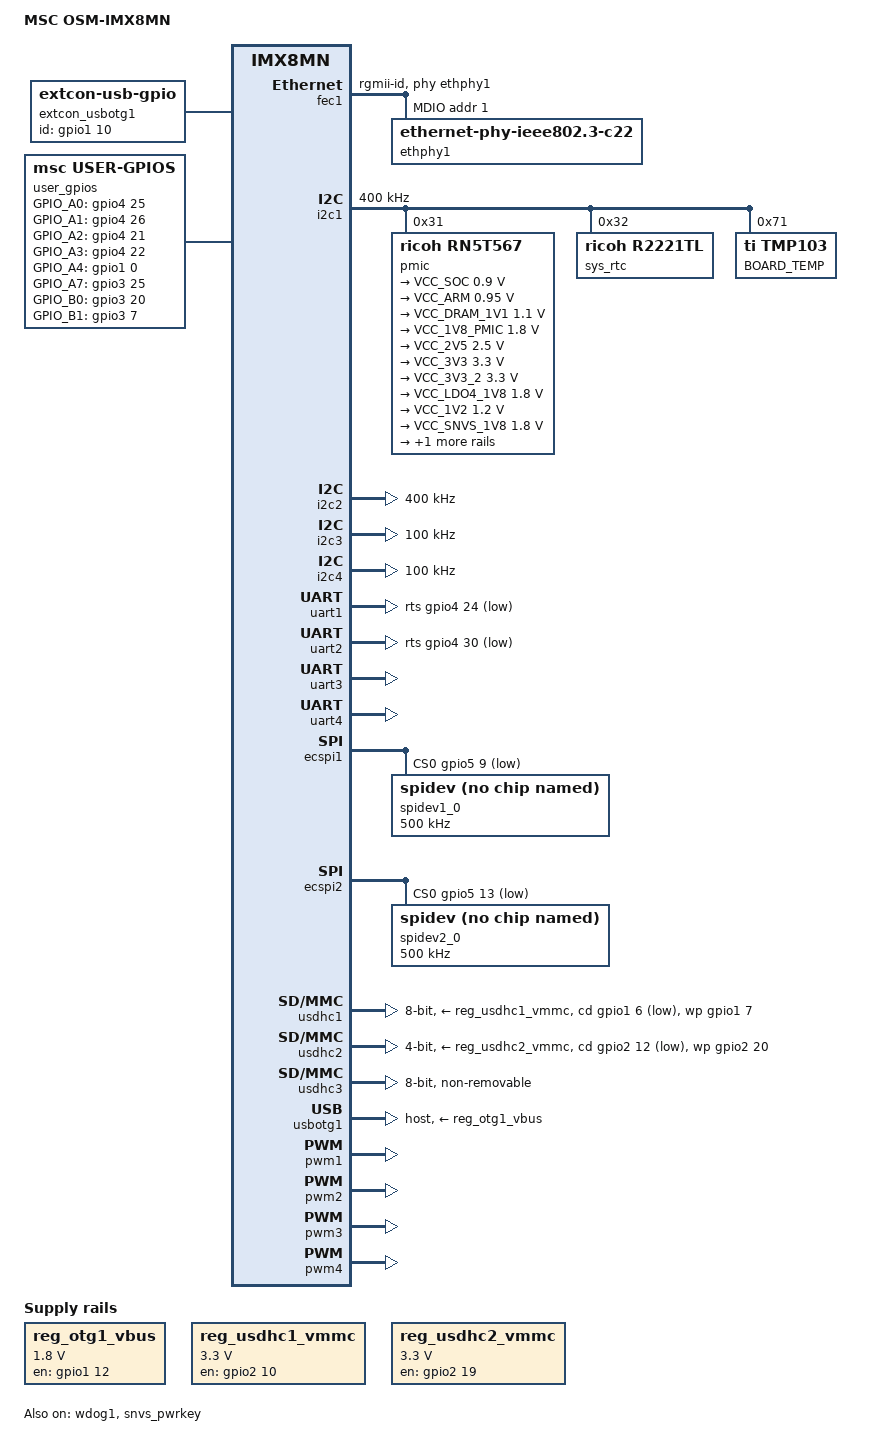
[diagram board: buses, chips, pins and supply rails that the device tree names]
/*
 * Copyright (C) 2023 Avnet Embedded GmbH
 *
 * This program is free software; you can redistribute it and/or
 * modify it under the terms of the GNU General Public License as
 * published by the Free Software Foundation version 2.
 *
 * This program is distributed "as is" WITHOUT ANY WARRANTY of any
 * kind, whether express or implied; without even the implied warranty
 * of MERCHANTABILITY or FITNESS FOR A PARTICULAR PURPOSE.  See the
 * GNU General Public License for more details.
 */

#include <dt-bindings/usb/pd.h>
#include "../../freescale/imx8mn.dtsi"
#include <dt-bindings/net/ti-dp83867.h>
#include <dt-bindings/mfd/ricoh-rn5t618.h>
#include <dt-bindings/input/snvs_pwrkey.h>
#include <dt-bindings/thermal/thermal.h>

/ {
	model = "MSC OSM-IMX8MN";
	compatible = "msc,osm-imx8mn", "fsl,imx8mn";

	chosen {
		stdout-path = &uart1;
	};

	aliases {
		rtc0 = &sys_rtc;
		rtc1 = &snvs_rtc;
		ser0 = &uart1;
		ser1 = &uart3;
		ser2 = &uart2;
		ser3 = &uart4;
		i2c-dev = &i2c1;
		i2c-pm = &i2c2;
		i2c-gp = &i2c3;
		i2c-cam = &i2c4;
	};

	busfreq {
		status = "disabled";
	};

	reg_otg1_vbus: otg1-vbus-regulator {
		compatible = "regulator-fixed";
		regulator-name = "OTG1_VBUS";
		regulator-min-microvolt = <1800000>;
		regulator-max-microvolt = <1800000>;
		gpio = <&gpio1 12 GPIO_ACTIVE_HIGH>;
		enable-active-high;
	};

	reg_usdhc1_vmmc: regulator-usdhc1 {
		compatible = "regulator-fixed";
		regulator-name = "VSD1_3V3";
		regulator-min-microvolt = <3300000>;
		regulator-max-microvolt = <3300000>;
		gpio = <&gpio2 10 GPIO_ACTIVE_HIGH>;
		enable-active-high;
		startup-delay-us = <100>;
		u-boot,off-on-delay-us = <12000>;
	};

	reg_usdhc2_vmmc: regulator-usdhc2 {
		compatible = "regulator-fixed";
		regulator-name = "VSD2_3V3";
		regulator-min-microvolt = <3300000>;
		regulator-max-microvolt = <3300000>;
		gpio = <&gpio2 19 GPIO_ACTIVE_HIGH>;
		enable-active-high;
		startup-delay-us = <100>;
		u-boot,off-on-delay-us = <12000>;
	};

	i2c_cam: i2c_cam {
		pinctrl-names = "default";
		pinctrl-0 = <&pinctrl_i2c4>, <&pinctrl_i2c4_gpio>;
		compatible = "i2c-gpio";
		#address-cells = <1>;
		#size-cells = <0>;
		sda-gpios = <&gpio5 21 (GPIO_ACTIVE_HIGH | GPIO_OPEN_DRAIN)>;
		scl-gpios = <&gpio5 20 (GPIO_ACTIVE_HIGH | GPIO_OPEN_DRAIN)>;
		i2c-gpio,delay-us = <2>;	/* ~100 kHz */
		status = "disabled";
	};

	extcon_usbotg1: extcon_usbotg1 {
		pinctrl-names = "default";
		pinctrl-0 = <&pinctrl_usbotg1_extcon>;
		compatible = "linux,extcon-usb-gpio";
		id-gpio = <&gpio1 10 GPIO_ACTIVE_HIGH>;
	};

	user_gpios {
		compatible = "msc,user-gpios";
		GPIO_A0-gpios = <&gpio4 25 GPIO_ACTIVE_HIGH>;
		GPIO_A1-gpios = <&gpio4 26 GPIO_ACTIVE_HIGH>;
		GPIO_A2-gpios = <&gpio4 21 GPIO_ACTIVE_HIGH>;
		GPIO_A3-gpios = <&gpio4 22 GPIO_ACTIVE_HIGH>;
		GPIO_A4-gpios = <&gpio1  0 GPIO_ACTIVE_HIGH>;
		GPIO_A7-gpios = <&gpio3 25 GPIO_ACTIVE_HIGH>;
		GPIO_B0-gpios = <&gpio3 20 GPIO_ACTIVE_HIGH>;
		GPIO_B1-gpios = <&gpio3  7 GPIO_ACTIVE_HIGH>;
		GPIO_B2-gpios = <&gpio3  6 GPIO_ACTIVE_HIGH>;
		GPIO_B3-gpios = <&gpio3  0 GPIO_ACTIVE_HIGH>;
		GPIO_B4-gpios = <&gpio3  1 GPIO_ACTIVE_HIGH>;
		GPIO_B5-gpios = <&gpio3  8 GPIO_ACTIVE_HIGH>;
		GPIO_B6-gpios = <&gpio3  9 GPIO_ACTIVE_HIGH>;
	};

	lcd0_backlight: lcd0_backlight {
		compatible = "pwm-backlight";
		pwms = <&pwm1 0 1000000 0>;
		brightness-levels = <
			  0   1   2   3   4   5   6   7   8   9
			 10  11  12  13  14  15  16  17  18  19
			 20  21  22  23  24  25  26  27  28  29
			 30  31  32  33  34  35  36  37  38  39
			 40  41  42  43  44  45  46  47  48  49
			 50  51  52  53  54  55  56  57  58  59
			 60  61  62  63  64  65  66  67  68  69
			 70  71  72  73  74  75  76  77  78  79
			 80  81  82  83  84  85  86  87  88  89
			 90  91  92  93  94  95  96  97  98  99
			100 101 102 103 104 105 106 107 108 109
			110 111 112 113 114 115 116 117 118 119
			120 121 122 123 124 125 126 127 128 129
			130 131 132 133 134 135 136 137 138 139
			140 141 142 143 144 145 146 147 148 149
			150 151 152 153 154 155 156 157 158 159
			160 161 162 163 164 165 166 167 168 169
			170 171 172 173 174 175 176 177 178 179
			180 181 182 183 184 185 186 187 188 189
			190 191 192 193 194 195 196 197 198 199
			200 201 202 203 204 205 206 207 208 209
			210 211 212 213 214 215 216 217 218 219
			220 221 222 223 224 225 226 227 228 229
			230 231 232 233 234 235 236 237 238 239
			240 241 242 243 244 245 246 247 248 249
			250 251 252 253 254 255
		>;
		default-brightness-level = <255>;
		enable-gpios = <&gpio1 5 GPIO_ACTIVE_HIGH>;		/* GPIO_C_5 */
		status = "disabled";
	};

	i2c_ids {
		compatible = "msc,i2c-ids";
		i2c_dev {
			label = "intern";
			bus = <&i2c1>;
		};
		i2c_pm {
			label = "I2C_A";
			bus = <&i2c2>;
		};
		i2c_gp {
			label = "I2C_B";
			bus = <&i2c3>;
		};
		i2c_cam {
			label = "I2C_CAM";
			bus = <&i2c4>;
		};
	};

};

&fec1 {
	pinctrl-names = "default";
	pinctrl-0 = <&pinctrl_fec1>;
	phy-mode = "rgmii-id";
	phy-handle = <&ethphy1>;
	fsl,magic-packet;
	status = "okay";

	mdio {
		#address-cells = <1>;
		#size-cells = <0>;

		ethphy1: ethernet-phy@1 {
			compatible = "ethernet-phy-ieee802.3-c22";
			reg = <1>;
			eee-broken-1000t;
			ti,rx-internal-delay = <DP83867_RGMIIDCTL_2_25_NS>;
			ti,tx-internal-delay = <DP83867_RGMIIDCTL_2_75_NS>;
			ti,fifo-depth = <DP83867_PHYCR_FIFO_DEPTH_4_B_NIB>;
			ti,led-2-sel = <MII_DP83867_LEDCR1_LED_SEL_LE_RX_TX_ACT>;
			ti,led-1-sel = <MII_DP83867_LEDCR1_LED_SEL_1000BT_LE>;
			ti,led-0-sel = <MII_DP83867_LEDCR1_LED_SEL_100BTX_LE>;
			ti,led-gpio-polarity-active-high;
			ti,led-2-polarity-active-high;
			ti,led-1-polarity-active-high;
			ti,led-0-polarity-active-high;
			ti,clk-output-sel = <DP83867_CLK_O_SEL_OFF>;
		};
	};
};

/* I2C_intern */
&i2c1 {
	pinctrl-names = "default";
	pinctrl-0 = <&pinctrl_i2c1>;
	clock-frequency = <400000>;
	status = "okay";

	pmic: pmic@31 {
		compatible = "ricoh,rn5t567";
		reg = <0x31>;
		pmic-id = <0>;

		sleep-sequence = /bits/ 8 <
				0x16	0x2b
				0x17	0x49
				0x1b	0x2b
				0x1c	0x67
				0x1f	0x0b
				0x32	0x03
				0x30	0x03
			>;
		repower-time = <REPWRTIME_1000MS>;

		regulators {
			DCDC1 {
				regulator-name = "VCC_SOC";
				regulator-always-on;
				regulator-min-microvolt = <900000>;
				regulator-max-microvolt = <900000>;
			};
			DCDC2 {
				regulator-name = "VCC_ARM";
				regulator-always-on;
				regulator-min-microvolt = <950000>;
				regulator-max-microvolt = <950000>;
			};
			DCDC3 {
				regulator-name = "VCC_DRAM_1V1";
				regulator-always-on;
				regulator-min-microvolt = <1100000>;
				regulator-max-microvolt = <1100000>;
			};
			DCDC4 {
				regulator-name = "VCC_1V8_PMIC";
				regulator-always-on;
				regulator-min-microvolt = <1800000>;
				regulator-max-microvolt = <1800000>;
			};
			LDO1 {
				regulator-name = "VCC_2V5";
				regulator-always-on;
				regulator-min-microvolt = <2500000>;
				regulator-max-microvolt = <2500000>;
			};
			LDO2 {
				regulator-name = "VCC_3V3";
				regulator-always-on;
				regulator-min-microvolt = <3300000>;
				regulator-max-microvolt = <3300000>;
			};
			LDO3 {
				regulator-name = "VCC_3V3_2";
				regulator-always-on;
				regulator-min-microvolt = <3300000>;
				regulator-max-microvolt = <3300000>;
			};
			LDO4 {
				regulator-name = "VCC_LDO4_1V8";
				regulator-always-on;
				regulator-min-microvolt = <1800000>;
				regulator-max-microvolt = <1800000>;
			};
			LDO5 {
				regulator-name = "VCC_1V2";
				regulator-always-on;
				regulator-min-microvolt = <1200000>;
				regulator-max-microvolt = <1200000>;
			};
			LDORTC1 {
				regulator-name = "VCC_SNVS_1V8";
				regulator-always-on;
				regulator-min-microvolt = <1800000>;
				regulator-max-microvolt = <1800000>;
			};
			LDORTC2 {
				regulator-name = "VCC_PM1_SNVS_3V3";
				regulator-always-on;
				regulator-min-microvolt = <3300000>;
				regulator-max-microvolt = <3300000>;
			};
		};
	};

	sys_rtc: rtc@32 {
		compatible = "ricoh,r2221tl";
		pinctrl-names = "default";
		pinctrl-0 = <&pinctrl_rtc1>;
		reg = <0x32>;
	};

	tmp103: tmp103@71 {
		compatible = "ti,tmp103";
		reg = <0x71>;
		label = "BOARD_TEMP";
	};

};

/* I2C_A */
&i2c2 {
	clock-frequency = <400000>;
	pinctrl-names = "default";
	pinctrl-0 = <&pinctrl_i2c2>;
	status = "okay";
};

/* I2C_B */
&i2c3 {
	clock-frequency = <100000>;
	pinctrl-names = "default";
	pinctrl-0 = <&pinctrl_i2c3>;
	status = "okay";

};

/* I2C_CAM */
&i2c4 {
	clock-frequency = <100000>;
	pinctrl-names = "default";
	pinctrl-0 = <&pinctrl_i2c4>;
	status = "okay";
};

&sdma1 {
	status = "okay";
};

&sdma2 {
	status = "okay";
};

/* UART_A */
&uart1 {
	pinctrl-names = "default";
	pinctrl-0 = <&pinctrl_uart1>;
	fsl,uart-has-rtscts;
	cts-gpios = <&gpio4 23 GPIO_ACTIVE_LOW>;
	rts-gpios = <&gpio4 24 GPIO_ACTIVE_LOW>;
	status = "okay";
};

/* UART_B */
&uart2 {
	pinctrl-names = "default";
	pinctrl-0 = <&pinctrl_uart2>;
	fsl,uart-has-rtscts;
	cts-gpios = <&gpio4 29 GPIO_ACTIVE_LOW>;
	rts-gpios = <&gpio4 30 GPIO_ACTIVE_LOW>;
	status = "okay";
};

/* UART_C */
&uart3 {
	pinctrl-names = "default";
	pinctrl-0 = <&pinctrl_uart3>;
	assigned-clocks = <&clk IMX8MN_CLK_UART3>;
	assigned-clock-parents = <&clk IMX8MN_SYS_PLL1_80M>;
	status = "okay";
};

/* UART_D */
&uart4 {
	pinctrl-names = "default";
	pinctrl-0 = <&pinctrl_uart4>;
	status = "okay";
};

/* SPI_A */
&ecspi1 {
	#address-cells = <1>;
	#size-cells = <0>;
	pinctrl-names = "default";
	pinctrl-0 = <&pinctrl_ecspi1>;
	fsl,spi-num-chipselects = <1>;
	cs-gpios = <&gpio5 9 GPIO_ACTIVE_LOW>;
	status = "okay";

	spidev1_0: spi@0 {
		compatible = "rohm,dh2228fv";
		reg = <0>;
		spi-max-frequency = <500000>;
	};

};
/* SPI_B */
&ecspi2 {
	#address-cells = <1>;
	#size-cells = <0>;
	pinctrl-names = "default";
	pinctrl-0 = <&pinctrl_ecspi2>;
	fsl,spi-num-chipselects = <1>;
	cs-gpios = <&gpio5 13 GPIO_ACTIVE_LOW>;
	status = "okay";

	spidev2_0: spi@0 {
		compatible = "rohm,dh2228fv";
		reg = <0>;
		spi-max-frequency = <500000>;
	};
};

/* SDIO_B */
&usdhc1 {
	assigned-clocks = <&clk IMX8MN_CLK_USDHC1>;
	assigned-clock-rates = <200000000>;
	pinctrl-names = "default", "state_100mhz", "state_200mhz";
	pinctrl-0 = <&pinctrl_usdhc1>, <&pinctrl_usdhc1_gpio>;
	pinctrl-1 = <&pinctrl_usdhc1_100mhz>, <&pinctrl_usdhc1_gpio>;
	pinctrl-2 = <&pinctrl_usdhc1_200mhz>, <&pinctrl_usdhc1_gpio>;
	cd-gpios = <&gpio1  6 GPIO_ACTIVE_LOW>;
	wp-gpios = <&gpio1  7 GPIO_ACTIVE_HIGH>;
	vmmc-supply = <&reg_usdhc1_vmmc>;
	bus-width = <8>;
	status = "okay";
};

/* SDIO_A */
&usdhc2 {
	assigned-clocks = <&clk IMX8MN_CLK_USDHC2>;
	assigned-clock-rates = <200000000>;
	pinctrl-names = "default", "state_100mhz", "state_200mhz";
	pinctrl-0 = <&pinctrl_usdhc2>, <&pinctrl_usdhc2_gpio>;
	pinctrl-1 = <&pinctrl_usdhc2_100mhz>, <&pinctrl_usdhc2_gpio>;
	pinctrl-2 = <&pinctrl_usdhc2_200mhz>, <&pinctrl_usdhc2_gpio>;
	cd-gpios = <&gpio2 12 GPIO_ACTIVE_LOW>;
	wp-gpios = <&gpio2 20 GPIO_ACTIVE_HIGH>;
	vmmc-supply = <&reg_usdhc2_vmmc>;
	bus-width = <4>;
	status = "okay";
};

/* eMMC */
&usdhc3 {
	assigned-clocks = <&clk IMX8MN_CLK_USDHC3_ROOT>;
	assigned-clock-rates = <400000000>;
	pinctrl-names = "default", "state_100mhz", "state_200mhz";
	pinctrl-0 = <&pinctrl_usdhc3>;
	pinctrl-1 = <&pinctrl_usdhc3_100mhz>;
	pinctrl-2 = <&pinctrl_usdhc3_200mhz>;
	bus-width = <8>;
	non-removable;
	status = "okay";
};

&usbotg1 {
	pinctrl-names = "default";
	pinctrl-0 = <&pinctrl_usbotg1>;
	vbus-supply = <&reg_otg1_vbus>;
	dr_mode = "host";
	disable-over-current;
	extcon = <0>, <&extcon_usbotg1>;
	status = "okay";
};


&wdog1 {
	pinctrl-names = "default";
	pinctrl-0 = <&pinctrl_wdog1>;
	fsl,ext-reset-output;
	status = "okay";
};

&pwm1 {
	pinctrl-names = "default";
	pinctrl-0 = <&pinctrl_pwm1>;
	status = "okay";
};

&pwm2 {
	pinctrl-names = "default";
	pinctrl-0 = <&pinctrl_pwm2>;
	status = "okay";
};

&pwm3 {
	pinctrl-names = "default";
	pinctrl-0 = <&pinctrl_pwm3>;
	status = "okay";
};

&pwm4 {
	pinctrl-names = "default";
	pinctrl-0 = <&pinctrl_pwm4>;
	status = "okay";
};

&mipi_dsi {
	status = "disabled";
};

&sai5 {
	pinctrl-names = "default";
	pinctrl-0 = <&pinctrl_sai5>;
	assigned-clocks = <&clk IMX8MN_CLK_SAI5>;
	assigned-clock-parents = <&clk IMX8MN_AUDIO_PLL1_OUT>;
	assigned-clock-rates = <49152000>;
	clocks = <&clk IMX8MN_CLK_SAI5_IPG>, <&clk IMX8MN_CLK_DUMMY>,
		<&clk IMX8MN_CLK_SAI5_ROOT>, <&clk IMX8MN_CLK_DUMMY>,
		<&clk IMX8MN_CLK_DUMMY>, <&clk IMX8MN_AUDIO_PLL1_OUT>,
		<&clk IMX8MN_AUDIO_PLL2_OUT>;
	clock-names = "bus", "mclk0", "mclk1", "mclk2", "mclk3", "pll8k", "pll11k";
	status = "disabled";
};

&snvs_pwrkey {
	on-time = <SNVS_LPCR_ON_TIME_0ms>;
	status = "okay";
};

&anatop {
	/* video-pll1-ss,enable; */
	video-pll1-ss,ffin_MHz = <24>;
	video-pll1-ss,mf_kHz = <30>;
	video-pll1-ss,mr = <VIDEO_PLL1_SPREAD_DEPTH_0_5_PERCENT>;
};

&easrc {
	fsl,asrc-rate  = <48000>;
	status = "disabled";
};

&mipi_csi_1 {
	status = "disabled";
};

&isi_0 {
	status = "disabled";

	cap_device {
		status = "disabled";
	};
};

&cameradev {
	status = "disabled";
};

&iomuxc {
	pinctrl-names = "default";
	pinctrl-0 = <&pinctrl_osm_gpio>, <&pinctrl_hog>;

	osm-imx8mn {
		pinctrl_hog: hoggrp {
			fsl,pins = <
				MX8MN_IOMUXC_UART2_RXD_GPIO5_IO24	0x40000019	/* BOOT_SEL0# */
				MX8MN_IOMUXC_UART2_TXD_GPIO5_IO25	0x40000019	/* BOOT_SEL1# */
			>;
		};

		pinctrl_osm_gpio: osmgrp-gpio {
			fsl,pins = <
				/* GPIO_A */
				MX8MN_IOMUXC_SAI2_TXC_GPIO4_IO25	0x40000019	/* GPIO_A_0 */
				MX8MN_IOMUXC_SAI2_TXD0_GPIO4_IO26	0x40000019	/* GPIO_A_1 */
				MX8MN_IOMUXC_SAI2_RXFS_GPIO4_IO21	0x40000019	/* GPIO_A_2 */
				MX8MN_IOMUXC_SAI2_RXC_GPIO4_IO22	0x40000019	/* GPIO_A_3 */
				MX8MN_IOMUXC_GPIO1_IO00_GPIO1_IO0	0x40000019	/* GPIO_A_4 */
				MX8MN_IOMUXC_SAI5_MCLK_GPIO3_IO25	0x40000019	/* GPIO_A_7 */
				/* GPIO_B */
				MX8MN_IOMUXC_SAI5_RXC_GPIO3_IO20	0x40000019	/* GPIO_B_0 */
				MX8MN_IOMUXC_NAND_DATA01_GPIO3_IO7	0x40000019	/* GPIO B 1 */
				MX8MN_IOMUXC_NAND_DATA00_GPIO3_IO6	0x40000019	/* GPIO B 2 */
				MX8MN_IOMUXC_NAND_ALE_GPIO3_IO0		0x40000019	/* GPIO B 3 */
				MX8MN_IOMUXC_NAND_CE0_B_GPIO3_IO1	0x40000019	/* GPIO B 4 */
				MX8MN_IOMUXC_NAND_DATA02_GPIO3_IO8	0x40000019	/* GPIO B 5 */
				MX8MN_IOMUXC_NAND_DATA03_GPIO3_IO9	0x40000019	/* GPIO B 6 */
				/* GPIO B7 - n.a. on nano */

				/* GPIO_C_0 - GPIO_C_3 na. on nano*/
				MX8MN_IOMUXC_GPIO1_IO01_GPIO1_IO1	0x40000019	/* GPIO_C_4 DISP_VDD_EN */
				MX8MN_IOMUXC_GPIO1_IO05_GPIO1_IO5	0x40000019	/* GPIO_C_5 DISP_BL_EN  */

				/* GPIO_D_0 - GPIO_D_7 na. on nano */
			>;
		};

		pinctrl_fec1: fec1grp {
			fsl,pins = <

				MX8MN_IOMUXC_ENET_MDC_ENET1_MDC			0x03	/* GBE_MDIO_CLK */
				MX8MN_IOMUXC_ENET_MDIO_ENET1_MDIO		0x03	/* GBE_MDIO_DATA */
				MX8MN_IOMUXC_ENET_TX_CTL_ENET1_RGMII_TX_CTL	0x1f	/* RGMII_TXEN */
				MX8MN_IOMUXC_ENET_TXC_ENET1_RGMII_TXC		0x1f	/* RGMII_TCLK */
				MX8MN_IOMUXC_ENET_TD0_ENET1_RGMII_TD0		0x1f	/* RGMII_TXD0 */
				MX8MN_IOMUXC_ENET_TD1_ENET1_RGMII_TD1		0x1f	/* RGMII_TXD1 */
				MX8MN_IOMUXC_ENET_TD2_ENET1_RGMII_TD2		0x1f	/* RGMII_TXD2 */
				MX8MN_IOMUXC_ENET_TD3_ENET1_RGMII_TD3		0x1f	/* RGMII_TXD3 */
				MX8MN_IOMUXC_ENET_RX_CTL_ENET1_RGMII_RX_CTL	0x91	/* RGMII_RCNT */
				MX8MN_IOMUXC_ENET_RXC_ENET1_RGMII_RXC		0x91	/* RGMII_RCLK */
				MX8MN_IOMUXC_ENET_RD0_ENET1_RGMII_RD0		0x91	/* RGMII_RXD0 */
				MX8MN_IOMUXC_ENET_RD1_ENET1_RGMII_RD1		0x91	/* RGMII_RXD1 */
				MX8MN_IOMUXC_ENET_RD2_ENET1_RGMII_RD2		0x91	/* RGMII_RXD2 */
				MX8MN_IOMUXC_ENET_RD3_ENET1_RGMII_RD3		0x91	/* RGMII_RXD3 */
			>;
		};

		/* UART_A */
		pinctrl_uart1: uart1grp {
			fsl,pins = <
				MX8MN_IOMUXC_UART1_RXD_UART1_DCE_RX		0x49	/* UART_A_RX  */
				MX8MN_IOMUXC_UART1_TXD_UART1_DCE_TX		0x49	/* UART_A_TX  */
				MX8MN_IOMUXC_SAI2_RXD0_GPIO4_IO23		0x19	/* UART_A_CTS */
				MX8MN_IOMUXC_SAI2_TXFS_GPIO4_IO24		0x19	/* UART_A_RTS */
			>;
		};

		/* UART_B */
		pinctrl_uart2: uart2grp {
			fsl,pins = <
				MX8MN_IOMUXC_SAI3_TXFS_UART2_DCE_RX		0x49	/* UART_B_RX  */
				MX8MN_IOMUXC_SAI3_TXC_UART2_DCE_TX		0x49	/* UART_B_TX  */
				MX8MN_IOMUXC_SAI3_RXC_GPIO4_IO29		0x19	/* UART_B_CTS */
				MX8MN_IOMUXC_SAI3_RXD_GPIO4_IO30		0x19	/* UART_B_RTS */
			>;
		};

		/* UART_C */
		pinctrl_uart3: uart3grp {
			fsl,pins = <
				MX8MN_IOMUXC_UART3_RXD_UART3_DCE_RX		0x49	/* UART_C_RX */
				MX8MN_IOMUXC_UART3_TXD_UART3_DCE_TX		0x49	/* UART_C_TX */
			>;
		};

		/* UART_D */
		pinctrl_uart4: uart4grp {
			fsl,pins = <
				MX8MN_IOMUXC_UART4_RXD_UART4_DCE_RX		0x49	/* UART_D_RX */
				MX8MN_IOMUXC_UART4_TXD_UART4_DCE_TX		0x49	/* UART_D_TX */
			>;
		};

		/* I2C_intern */
		pinctrl_i2c1: i2c1grp {
			fsl,pins = <
				MX8MN_IOMUXC_I2C1_SCL_I2C1_SCL		0x400001e0	/* I2C_DEV_SCL */
				MX8MN_IOMUXC_I2C1_SDA_I2C1_SDA		0x400001e0	/* I2C_DEV_SDA */
			>;
		};

		/* I2C_A */
		pinctrl_i2c2: i2c2grp {
			fsl,pins = <
				MX8MN_IOMUXC_I2C2_SCL_I2C2_SCL		0x400001e0	/* I2C_PM_SCL */
				MX8MN_IOMUXC_I2C2_SDA_I2C2_SDA		0x400001e0	/* I2C_PM_SDA */
			>;
		};

		/* I2C_B */
		pinctrl_i2c3: i2c3grp {
			fsl,pins = <
				MX8MN_IOMUXC_I2C3_SCL_I2C3_SCL		0x400001e0	/* I2C_GP_SCL */
				MX8MN_IOMUXC_I2C3_SDA_I2C3_SDA		0x400001e0	/* I2C_GP_SDA */

			>;
		};

		/* I2C_CAM */
		pinctrl_i2c4: i2c4grp {
			fsl,pins = <
				MX8MN_IOMUXC_I2C4_SCL_I2C4_SCL		0x400001e0	/* I2C_CAM_SCL */
				MX8MN_IOMUXC_I2C4_SDA_I2C4_SDA		0x400001e0	/* I2C_CAM_SDA */
			>;
		};

		/* I2C_CAM_GPIO */
		pinctrl_i2c4_gpio: i2c4gpiogrp {
			fsl,pins = <
				MX8MN_IOMUXC_I2C4_SCL_GPIO5_IO20	0x400001e0	/* I2C_CAM_SCL, linux-gpio-id=148 */
				MX8MN_IOMUXC_I2C4_SDA_GPIO5_IO21	0x400001e0	/* I2C_CAM_SDA, linux-gpio-id=149 */
			>;
		};

		/* SDIO_B */
		pinctrl_usdhc1: usdhc1grp {
			fsl,pins = <
				MX8MN_IOMUXC_SD1_CLK_USDHC1_CLK			0x92	/* SD1_CLK,   SDIO_B_CK    */
				MX8MN_IOMUXC_SD1_CMD_USDHC1_CMD			0x92	/* SD1_CMD,   SDIO_B_CMD   */
				MX8MN_IOMUXC_SD1_DATA0_USDHC1_DATA0		0x92	/* SD1_DATA0, SDIO_B_DATA0 */
				MX8MN_IOMUXC_SD1_DATA1_USDHC1_DATA1		0x92	/* SD1_DATA1, SDIO_B_DATA1 */
				MX8MN_IOMUXC_SD1_DATA2_USDHC1_DATA2		0x92	/* SD1_DATA2, SDIO_B_DATA2 */
				MX8MN_IOMUXC_SD1_DATA3_USDHC1_DATA3		0x92	/* SD1_DATA3, SDIO_B_DATA3 */
				MX8MN_IOMUXC_SD1_DATA4_USDHC1_DATA4		0x92	/* SD1_DATA4, SDIO_B_DATA4 */
				MX8MN_IOMUXC_SD1_DATA5_USDHC1_DATA5		0x92	/* SD1_DATA5, SDIO_B_DATA5 */
				MX8MN_IOMUXC_SD1_DATA6_USDHC1_DATA6		0x92	/* SD1_DATA6, SDIO_B_DATA6 */
				MX8MN_IOMUXC_SD1_DATA7_USDHC1_DATA7		0x92	/* SD1_DATA7, SDIO_B_DATA7 */
			>;
		};

		pinctrl_usdhc1_gpio: usdhc1grp-gpio {
			fsl,pins = <
				MX8MN_IOMUXC_GPIO1_IO06_GPIO1_IO6		0x41	/* SD1_CD_B, SDIO_B_CD, linux-gpio-id=6  */
				MX8MN_IOMUXC_GPIO1_IO07_GPIO1_IO7		0x41	/* SD1_WP, SDIO_B_WP,   linux-gpio-id=7  */
				MX8MN_IOMUXC_SD1_RESET_B_GPIO2_IO10		0x41	/* SDIO_B_PWR_EN,       linux-gpio-id=42 */
				MX8MN_IOMUXC_GPIO1_IO03_USDHC1_VSELECT		0x1d0	/* USDHC1_VSELECT */
			>;
		};

		pinctrl_usdhc1_100mhz: usdhc1grp-100mhz {
			fsl,pins = <
				MX8MN_IOMUXC_SD1_CLK_USDHC1_CLK			0x94	/* SD1_CLK,   SDIO_B_CK    */
				MX8MN_IOMUXC_SD1_CMD_USDHC1_CMD			0x94	/* SD1_CMD,   SDIO_B_CMD   */
				MX8MN_IOMUXC_SD1_DATA0_USDHC1_DATA0		0x94	/* SD1_DATA0, SDIO_B_DATA0 */
				MX8MN_IOMUXC_SD1_DATA1_USDHC1_DATA1		0x94	/* SD1_DATA1, SDIO_B_DATA1 */
				MX8MN_IOMUXC_SD1_DATA2_USDHC1_DATA2		0x94	/* SD1_DATA2, SDIO_B_DATA2 */
				MX8MN_IOMUXC_SD1_DATA3_USDHC1_DATA3		0x94	/* SD1_DATA3, SDIO_B_DATA3 */
				MX8MN_IOMUXC_SD1_DATA4_USDHC1_DATA4		0x94	/* SD1_DATA4, SDIO_B_DATA4 */
				MX8MN_IOMUXC_SD1_DATA5_USDHC1_DATA5		0x94	/* SD1_DATA5, SDIO_B_DATA5 */
				MX8MN_IOMUXC_SD1_DATA6_USDHC1_DATA6		0x94	/* SD1_DATA6, SDIO_B_DATA6 */
				MX8MN_IOMUXC_SD1_DATA7_USDHC1_DATA7		0x94	/* SD1_DATA7, SDIO_B_DATA7 */
			>;
		};

		pinctrl_usdhc1_200mhz: usdhc1grp-200mhz {
			fsl,pins = <
				MX8MN_IOMUXC_SD1_CLK_USDHC1_CLK			0x96	/* SD1_CLK,   SDIO_B_CK    */
				MX8MN_IOMUXC_SD1_CMD_USDHC1_CMD			0x96	/* SD1_CMD,   SDIO_B_CMD   */
				MX8MN_IOMUXC_SD1_DATA0_USDHC1_DATA0		0x96	/* SD1_DATA0, SDIO_B_DATA0 */
				MX8MN_IOMUXC_SD1_DATA1_USDHC1_DATA1		0x96	/* SD1_DATA1, SDIO_B_DATA1 */
				MX8MN_IOMUXC_SD1_DATA2_USDHC1_DATA2		0x96	/* SD1_DATA2, SDIO_B_DATA2 */
				MX8MN_IOMUXC_SD1_DATA3_USDHC1_DATA3		0x96	/* SD1_DATA3, SDIO_B_DATA3 */
				MX8MN_IOMUXC_SD1_DATA4_USDHC1_DATA4		0x96	/* SD1_DATA4, SDIO_B_DATA4 */
				MX8MN_IOMUXC_SD1_DATA5_USDHC1_DATA5		0x96	/* SD1_DATA5, SDIO_B_DATA5 */
				MX8MN_IOMUXC_SD1_DATA6_USDHC1_DATA6		0x96	/* SD1_DATA6, SDIO_B_DATA6 */
				MX8MN_IOMUXC_SD1_DATA7_USDHC1_DATA7		0x96	/* SD1_DATA7, SDIO_B_DATA7 */
			>;
		};

		/* SDIO_A */
		pinctrl_usdhc2: usdhc2grp {
			fsl,pins = <
				MX8MN_IOMUXC_SD2_CLK_USDHC2_CLK			0x92	/* SD2_CLK,   SDIO_A_CK    */
				MX8MN_IOMUXC_SD2_CMD_USDHC2_CMD			0x92	/* SD2_CMD,   SDIO_A_CMD   */
				MX8MN_IOMUXC_SD2_DATA0_USDHC2_DATA0		0x92	/* SD2_DATA0, SDIO_A_DATA0 */
				MX8MN_IOMUXC_SD2_DATA1_USDHC2_DATA1		0x92	/* SD2_DATA1, SDIO_A_DATA1 */
				MX8MN_IOMUXC_SD2_DATA2_USDHC2_DATA2		0x92	/* SD2_DATA2, SDIO_A_DATA2 */
				MX8MN_IOMUXC_SD2_DATA3_USDHC2_DATA3		0x92	/* SD2_DATA3, SDIO_A_DATA3 */
			>;
		};

		pinctrl_usdhc2_gpio: usdhc2grp-gpio {
			fsl,pins = <
				MX8MN_IOMUXC_SD2_CD_B_GPIO2_IO12		0x41	/* SD2_CD_B, SDIO_B_CD, linux-gpio-id=44 */
				MX8MN_IOMUXC_SD2_WP_GPIO2_IO20			0x41	/* SD2_WP, SDIO_B_WP,   linux-gpio-id=52 */
				MX8MN_IOMUXC_SD2_RESET_B_GPIO2_IO19		0x41	/* SDIO_B_PWR_EN,       linux-gpio-id=51 */
				MX8MN_IOMUXC_GPIO1_IO04_USDHC2_VSELECT		0x1d0	/* USDHC2_VSELECT 			 */
			>;
		};

		pinctrl_usdhc2_100mhz: usdhc2grp-100mhz {
			fsl,pins = <
				MX8MN_IOMUXC_SD2_CLK_USDHC2_CLK			0x94	/* SD2_CLK,   SDIO_A_CK    */
				MX8MN_IOMUXC_SD2_CMD_USDHC2_CMD			0x94	/* SD2_CMD,   SDIO_A_CMD   */
				MX8MN_IOMUXC_SD2_DATA0_USDHC2_DATA0		0x94	/* SD2_DATA0, SDIO_A_DATA0 */
				MX8MN_IOMUXC_SD2_DATA1_USDHC2_DATA1		0x94	/* SD2_DATA1, SDIO_A_DATA1 */
				MX8MN_IOMUXC_SD2_DATA2_USDHC2_DATA2		0x94	/* SD2_DATA2, SDIO_A_DATA2 */
				MX8MN_IOMUXC_SD2_DATA3_USDHC2_DATA3		0x94	/* SD2_DATA3, SDIO_A_DATA3 */
			>;
		};

		pinctrl_usdhc2_200mhz: usdhc2grp-200mhz {
			fsl,pins = <
				MX8MN_IOMUXC_SD2_CLK_USDHC2_CLK			0x96	/* SD2_CLK,   SDIO_A_CK    */
				MX8MN_IOMUXC_SD2_CMD_USDHC2_CMD			0x96	/* SD2_CMD,   SDIO_A_CMD   */
				MX8MN_IOMUXC_SD2_DATA0_USDHC2_DATA0		0x96	/* SD2_DATA0, SDIO_A_DATA0 */
				MX8MN_IOMUXC_SD2_DATA1_USDHC2_DATA1		0x96	/* SD2_DATA1, SDIO_A_DATA1 */
				MX8MN_IOMUXC_SD2_DATA2_USDHC2_DATA2		0x96	/* SD2_DATA2, SDIO_A_DATA2 */
				MX8MN_IOMUXC_SD2_DATA3_USDHC2_DATA3		0x96	/* SD2_DATA3, SDIO_A_DATA3 */
			>;
		};

		/* emmc */
		pinctrl_usdhc3: usdhc3grp {
			fsl,pins = <
				MX8MN_IOMUXC_NAND_WE_B_USDHC3_CLK		0x40000190	/* EMMC_CK    */
				MX8MN_IOMUXC_NAND_WP_B_USDHC3_CMD		0x1d0		/* EMMC_CMD   */
				MX8MN_IOMUXC_NAND_DATA04_USDHC3_DATA0		0x1d0		/* EMMC_DATA0 */
				MX8MN_IOMUXC_NAND_DATA05_USDHC3_DATA1		0x1d0		/* EMMC_DATA1 */
				MX8MN_IOMUXC_NAND_DATA06_USDHC3_DATA2		0x1d0		/* EMMC_DATA2 */
				MX8MN_IOMUXC_NAND_DATA07_USDHC3_DATA3		0x1d0		/* EMMC_DATA3 */
				MX8MN_IOMUXC_NAND_RE_B_USDHC3_DATA4		0x1d0		/* EMMC_DATA4 */
				MX8MN_IOMUXC_NAND_CE2_B_USDHC3_DATA5		0x1d0		/* EMMC_DATA5 */
				MX8MN_IOMUXC_NAND_CE3_B_USDHC3_DATA6		0x1d0		/* EMMC_DATA6 */
				MX8MN_IOMUXC_NAND_CLE_USDHC3_DATA7		0x1d0		/* EMMC_DATA7 */
				MX8MN_IOMUXC_NAND_CE1_B_USDHC3_STROBE		0x190		/* EMMC_STRB  */
				MX8MN_IOMUXC_NAND_READY_B_GPIO3_IO16	0x116		/* EMMC_RST   */
			>;
		};

		pinctrl_usdhc3_100mhz: usdhc3grp-100mhz {
			fsl,pins = <
				MX8MN_IOMUXC_NAND_WE_B_USDHC3_CLK		0x40000194	/* EMMC_CK    */
				MX8MN_IOMUXC_NAND_WP_B_USDHC3_CMD		0x1d4		/* EMMC_CMD   */
				MX8MN_IOMUXC_NAND_DATA04_USDHC3_DATA0		0x1d4		/* EMMC_DATA0 */
				MX8MN_IOMUXC_NAND_DATA05_USDHC3_DATA1		0x1d4		/* EMMC_DATA1 */
				MX8MN_IOMUXC_NAND_DATA06_USDHC3_DATA2		0x1d4		/* EMMC_DATA2 */
				MX8MN_IOMUXC_NAND_DATA07_USDHC3_DATA3		0x1d4		/* EMMC_DATA3 */
				MX8MN_IOMUXC_NAND_RE_B_USDHC3_DATA4		0x1d4		/* EMMC_DATA4 */
				MX8MN_IOMUXC_NAND_CE2_B_USDHC3_DATA5		0x1d4		/* EMMC_DATA5 */
				MX8MN_IOMUXC_NAND_CE3_B_USDHC3_DATA6		0x1d4		/* EMMC_DATA6 */
				MX8MN_IOMUXC_NAND_CLE_USDHC3_DATA7		0x1d4		/* EMMC_DATA7 */
				MX8MN_IOMUXC_NAND_CE1_B_USDHC3_STROBE		0x194		/* EMMC_STRB  */
				MX8MN_IOMUXC_NAND_READY_B_GPIO3_IO16	0x116		/* EMMC_RST   */
			>;
		};

		pinctrl_usdhc3_200mhz: usdhc3grp-200mhz {
			fsl,pins = <
				MX8MN_IOMUXC_NAND_WE_B_USDHC3_CLK		0x40000196	/* EMMC_CK    */
				MX8MN_IOMUXC_NAND_WP_B_USDHC3_CMD		0x1d6		/* EMMC_CMD   */
				MX8MN_IOMUXC_NAND_DATA04_USDHC3_DATA0		0x1d6		/* EMMC_DATA0 */
				MX8MN_IOMUXC_NAND_DATA05_USDHC3_DATA1		0x1d6		/* EMMC_DATA1 */
				MX8MN_IOMUXC_NAND_DATA06_USDHC3_DATA2		0x1d6		/* EMMC_DATA2 */
				MX8MN_IOMUXC_NAND_DATA07_USDHC3_DATA3		0x1d6		/* EMMC_DATA3 */
				MX8MN_IOMUXC_NAND_RE_B_USDHC3_DATA4		0x1d6		/* EMMC_DATA4 */
				MX8MN_IOMUXC_NAND_CE2_B_USDHC3_DATA5		0x1d6		/* EMMC_DATA5 */
				MX8MN_IOMUXC_NAND_CE3_B_USDHC3_DATA6		0x1d6		/* EMMC_DATA6 */
				MX8MN_IOMUXC_NAND_CLE_USDHC3_DATA7		0x1d6		/* EMMC_DATA7 */
				MX8MN_IOMUXC_NAND_CE1_B_USDHC3_STROBE		0x196		/* EMMC_STRB  */
				MX8MN_IOMUXC_NAND_READY_B_GPIO3_IO16	0x116		/* EMMC_RST   */
			>;
		};

		pinctrl_usbotg1: usbotg1grp {
			fsl,pins = <
				MX8MN_IOMUXC_GPIO1_IO12_GPIO1_IO12	0x16		/* USB_A_PWR_EN */
				MX8MN_IOMUXC_GPIO1_IO13_USB1_OTG_OC	0x40000019	/* USB_A_OC     */
			>;
		};

		pinctrl_usbotg1_extcon: usbotg1extcongrp {
			fsl,pins = <
				MX8MN_IOMUXC_GPIO1_IO10_GPIO1_IO10	0x40000019	/* USB_A_ID */
			>;
		};

		pinctrl_flexspi: flexspi0grp {
			fsl,pins = <
				MX8MN_IOMUXC_NAND_ALE_QSPI_A_SCLK	0x1c6	/* QSPI_CK    */
				MX8MN_IOMUXC_NAND_CE0_B_QSPI_A_SS0_B	0x86	/* QSPI_CS0#  */
				MX8MN_IOMUXC_NAND_DATA00_QSPI_A_DATA0	0x86	/* QSPI_DATA0 */
				MX8MN_IOMUXC_NAND_DATA01_QSPI_A_DATA1	0x86	/* QSPI_DATA1 */
				MX8MN_IOMUXC_NAND_DATA02_QSPI_A_DATA2	0x86	/* QSPI_DATA2 */
				MX8MN_IOMUXC_NAND_DATA03_QSPI_A_DATA3	0x86	/* QSPI_DATA3 */
			>;
		};

		pinctrl_ecspi1: ecspi1grp {
			fsl,pins = <
				MX8MN_IOMUXC_ECSPI1_SCLK_ECSPI1_SCLK	0x82	/* SPI_A_CK */
				MX8MN_IOMUXC_ECSPI1_MOSI_ECSPI1_MOSI	0x82	/* SPI_A_MOSI */
				MX8MN_IOMUXC_ECSPI1_MISO_ECSPI1_MISO	0x82	/* SPI_A_MISO */
				MX8MN_IOMUXC_ECSPI1_SS0_GPIO5_IO9	0x19	/* SPI_A_CS#, linux-gpio-id=137 */
			>;
		};

		pinctrl_ecspi2: ecspi2grp {
			fsl,pins = <
				MX8MN_IOMUXC_ECSPI2_SCLK_ECSPI2_SCLK	0x82	/* SPI_B_CK   */
				MX8MN_IOMUXC_ECSPI2_MOSI_ECSPI2_MOSI	0x82	/* SPI_B_MOSI */
				MX8MN_IOMUXC_ECSPI2_MISO_ECSPI2_MISO	0x82	/* SPI_B_MISO */
				MX8MN_IOMUXC_ECSPI2_SS0_GPIO5_IO13	0x19	/* SPI_B_CS0, linux-gpio-id=141 */
			>;
		};

		pinctrl_sai5: sai5grp {
			fsl,pins = <
				MX8MN_IOMUXC_SAI5_RXD0_SAI5_RX_DATA0	0xd6	/* I2S0_SDIN */
				MX8MN_IOMUXC_SAI5_RXD1_SAI5_TX_SYNC	0xd6	/* I2S0_LRCK */
				MX8MN_IOMUXC_SAI5_RXD2_SAI5_TX_BCLK	0xd6	/* I2S0_BCLK */
				MX8MN_IOMUXC_SAI5_RXD3_SAI5_TX_DATA0	0xd6	/* I2S0_SDOUT */
			>;
		};

		pinctrl_rtc1: rtc1grp {
			fsl,pins = <
				MX8MN_IOMUXC_SAI5_RXFS_GPIO3_IO19	0x19	/* RTC_INT#, linux-gpio-id=83 */
			>;
		};

		pinctrl_wdog1: wdog1grp {
			fsl,pins = <
				/* WDOG1, WDT_TIME_OUT */
				MX8MN_IOMUXC_GPIO1_IO02_WDOG1_WDOG_B	0xc6
			>;
		};

		pinctrl_pwm1: pwm1grp {
			fsl,pins = <
				MX8MN_IOMUXC_SPDIF_EXT_CLK_PWM1_OUT	0x19	/* PWM_0 */
			>;
		};

		pinctrl_pwm2: pwm2grp {
			fsl,pins = <
				MX8MN_IOMUXC_SPDIF_RX_PWM2_OUT		0x19	/* PWM_1 */
			>;
		};

		pinctrl_pwm3: pwm3grp {
			fsl,pins = <
				 MX8MN_IOMUXC_SPDIF_TX_PWM3_OUT		0x19	/* PWM_2 */
			>;
		};

		pinctrl_pwm4: pwm4grp {
			fsl,pins = <
				MX8MN_IOMUXC_SAI3_MCLK_PWM4_OUT		0x19	/* PWM_3 */
			>;
		};


	};
};
